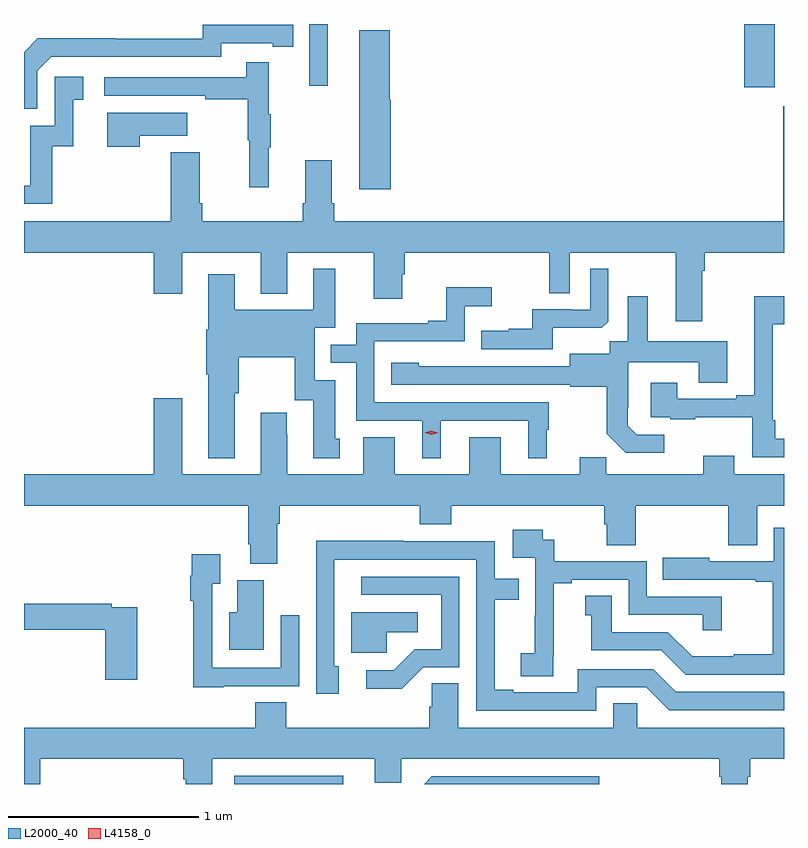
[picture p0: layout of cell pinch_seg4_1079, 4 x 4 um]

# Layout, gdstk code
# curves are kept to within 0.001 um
import gdstk
lib = gdstk.Library(unit=1e-6, precision=1e-09)
def R(c, l, rs):  # rectangles x0, y0, x1, y1
    for r in rs: c.add(gdstk.rectangle(r[:2], r[2:], *l))
def P(c, l, *ps):  # polygons
    for p in ps: c.add(gdstk.Polygon(p, *l))
L2000_40 = (2000, 40)
L4158_0 = (4158, 0)

pinch_seg4_1079 = lib.new_cell('pinch_seg4_1079')
R(pinch_seg4_1079, L2000_40, [(543.411,803.347,543.985,803.391), (546.095,807.015,546.255,807.347), (543.807,807.021,543.904,807.347)])
P(pinch_seg4_1079, L2000_40, [(542.376,807.102),(542.448,807.174),(543.342,807.174),(543.342,807.246),(543.614,807.246),(543.614,807.226),(543.722,807.226),(543.722,807.342),(543.246,807.343),(543.246,807.27),(542.786,807.27),(542.786,807.272),(542.378,807.272),(542.305,807.199),(542.305,806.901),(542.376,806.901)],
  [(544.234,806.949),(544.229,806.949),(544.229,807.313),(544.07,807.313),(544.07,806.478),(544.234,806.478)],
  [(543.593,806.699),(543.604,806.699),(543.604,806.873),(543.593,806.873),(543.593,807.145),(543.475,807.145),(543.475,807.066),(542.727,807.066),(542.727,806.97),(543.259,806.97),(543.259,806.95),(543.483,806.95),(543.483,806.736),(543.49,806.736),(543.49,806.487),(543.593,806.487)],
  [(542.453,806.703),(542.564,806.703),(542.564,806.949),(542.617,806.949),(542.617,807.07),(542.466,807.07),(542.466,806.811),(542.337,806.811),(542.337,806.496),(542.305,806.496),(542.305,806.4),(542.453,806.4)],
  [(545.875,806.048),(545.888,806.048),(545.888,806.144),(546.305,806.144),(546.305,806.914),(546.302,806.914),(546.302,806.308),(543.938,806.308),(543.938,806.404),(543.925,806.404),(543.925,806.629),(543.785,806.629),(543.785,806.404),(543.773,806.404),(543.773,806.308),(543.242,806.308),(543.242,806.404),(543.229,806.404),(543.229,806.671),(543.077,806.671),(543.077,806.308),(542.305,806.308),(542.305,806.144),(542.987,806.144),(542.987,805.926),(543.139,805.926),(543.139,806.144),(543.551,806.144),(543.551,805.928),(543.691,805.928),(543.691,806.144),(544.145,806.144),(544.145,805.902),(544.297,805.902),(544.297,806.031),(544.31,806.031),(544.31,806.144),(545.07,806.144),(545.07,805.93),(545.178,805.93),(545.178,806.144),(545.735,806.144),(545.735,805.782),(545.875,805.782)],
  [(542.915,806.759),(543.163,806.759),(543.163,806.881),(542.744,806.881),(542.744,806.7),(542.915,806.7)],
  [(543.415,805.403),(543.435,805.403),(543.435,805.592),(543.731,805.592),(543.731,805.368),(543.827,805.368),(543.827,805.062),(543.967,805.062),(543.967,805.164),(543.943,805.164),(543.943,805.473),(543.834,805.473),(543.834,805.749),(543.943,805.749),(543.943,806.059),(543.827,806.059),(543.827,805.843),(543.415,805.843),(543.415,806.029),(543.275,806.029),(543.275,805.739),(543.263,805.739),(543.263,805.503),(543.275,805.503),(543.275,805.061),(543.415,805.061)],
  [(545.089,805.748),(545.347,805.748),(545.379,805.779),(545.379,806.059),(545.286,806.059),(545.286,805.842),(545.186,805.842),(545.186,805.845),(544.979,805.845),(544.979,805.744),(544.855,805.744),(544.855,805.732),(544.711,805.732),(544.711,805.635),(545.089,805.635)],
  [(544.498,805.26),(544.958,805.26),(544.958,805.061),(545.056,805.061),(545.056,805.212),(545.068,805.212),(545.068,805.356),(544.149,805.356),(544.149,805.677),(544.626,805.677),(544.626,805.862),(544.768,805.862),(544.768,805.961),(544.528,805.961),(544.528,805.786),(544.433,805.786),(544.433,805.773),(544.053,805.773),(544.053,805.659),(543.919,805.659),(543.919,805.563),(544.053,805.563),(544.053,805.26),(544.4,805.26),(544.4,805.061),(544.498,805.061)],
  [(545.674,805.185),(545.529,805.185),(545.482,805.232),(545.482,805.327),(545.484,805.327),(545.484,805.568),(545.855,805.568),(545.855,805.459),(546.007,805.459),(546.007,805.678),(545.587,805.678),(545.587,805.915),(545.483,805.915),(545.483,805.676),(545.388,805.676),(545.388,805.612),(545.177,805.612),(545.177,805.545),(544.383,805.546),(544.383,805.564),(544.239,805.564),(544.239,805.449),(545.181,805.449),(545.181,805.437),(545.373,805.437),(545.373,805.191),(545.473,805.091),(545.674,805.091)],
  [(546.305,805.165),(546.259,805.165),(546.259,805.261),(546.246,805.261),(546.246,805.766),(546.305,805.766),(546.305,805.915),(546.149,805.915),(546.149,805.393),(546.053,805.393),(546.053,805.374),(545.743,805.374),(545.743,805.459),(545.603,805.459),(545.603,805.278),(545.707,805.278),(545.707,805.266),(545.839,805.266),(545.839,805.277),(546.138,805.277),(546.138,805.068),(546.305,805.068)],
  [(545.36,804.714),(545.372,804.714),(545.372,804.604),(545.525,804.604),(545.525,804.812),(546.011,804.812),(546.011,804.604),(546.163,804.604),(546.163,804.812),(546.305,804.812),(546.305,804.976),(546.043,804.976),(546.043,805.075),(545.879,805.075),(545.879,804.976),(545.369,804.976),(545.369,805.067),(545.231,805.067),(545.231,804.976),(544.813,804.976),(544.813,805.171),(544.649,805.171),(544.649,804.976),(544.255,804.976),(544.255,805.171),(544.091,805.171),(544.091,804.976),(543.691,804.976),(543.691,805.187),(543.688,805.187),(543.688,805.3),(543.551,805.3),(543.551,804.976),(543.139,804.976),(543.139,805.378),(542.987,805.378),(542.987,804.976),(542.305,804.976),(542.305,804.812),(543.485,804.812),(543.485,804.61),(543.497,804.61),(543.497,804.505),(543.637,804.505),(543.637,804.716),(543.65,804.716),(543.65,804.812),(544.388,804.812),(544.388,804.713),(544.553,804.713),(544.553,804.812),(545.36,804.812)],
  [(546.305,804.697),(546.252,804.697),(546.252,804.519),(545.911,804.519),(545.911,804.538),(545.668,804.538),(545.668,804.423),(546.155,804.423),(546.155,804.411),(546.247,804.411),(546.247,804.031),(546.041,804.031),(546.041,804.019),(545.822,804.019),(545.694,804.147),(545.398,804.147),(545.398,804.338),(545.258,804.338),(545.258,804.235),(545.291,804.235),(545.291,804.051),(545.658,804.051),(545.787,803.922),(546.305,803.922)],
  [(545.09,804.025),(545.092,804.025),(545.092,804.403),(545.188,804.403),(545.188,804.423),(545.487,804.423),(545.487,804.237),(545.877,804.237),(545.877,804.156),(545.978,804.156),(545.978,804.333),(545.583,804.333),(545.583,804.519),(545.096,804.519),(545.096,804.633),(545.034,804.633),(545.034,804.685),(544.878,804.685),(544.878,804.537),(544.995,804.537),(544.995,804.233),(544.994,804.233),(544.994,804.036),(544.92,804.036),(544.92,803.914),(545.09,803.914)],
  [(545.316,803.856),(545.58,803.856),(545.7,803.736),(546.305,803.736),(546.305,803.832),(545.736,803.832),(545.616,803.952),(545.22,803.952),(545.22,803.829),(544.879,803.829),(544.879,803.844),(544.783,803.844),(544.783,804.318),(544.91,804.318),(544.91,804.426),(544.782,804.426),(544.782,804.624),(544.304,804.624),(544.304,804.626),(543.842,804.626),(543.843,803.823),(543.961,803.823),(543.961,803.967),(543.939,803.967),(543.939,804.528),(544.686,804.528),(544.686,803.733),(545.316,803.733)],
  [(543.357,803.862),(543.753,803.862),(543.753,804.235),(543.657,804.235),(543.657,803.958),(543.297,803.958),(543.297,804.4),(543.337,804.4),(543.337,804.556),(543.189,804.556),(543.189,804.443),(543.181,804.443),(543.181,804.311),(543.196,804.311),(543.196,803.855),(543.357,803.855)],
  [(544.407,803.961),(544.596,803.961),(544.596,804.438),(544.08,804.438),(544.08,804.342),(544.5,804.342),(544.5,804.057),(544.362,804.057),(544.251,803.946),(544.107,803.946),(544.107,803.849),(544.294,803.849)],
  [(543.568,804.42),(543.428,804.42),(543.428,804.25),(543.386,804.25),(543.386,804.053),(543.568,804.053)],
  [(542.902,804.276),(542.768,804.276),(542.768,804.296),(542.305,804.296),(542.305,804.16),(542.732,804.16),(542.732,803.895),(542.902,803.895)],
  [(544.215,804.146),(544.378,804.146),(544.378,804.25),(544.028,804.25),(544.028,804.039),(544.215,804.039)],
  [(542.39,803.48),(543.143,803.48),(543.143,803.371),(543.156,803.371),(543.156,803.347),(543.295,803.347),(543.295,803.48),(544.151,803.48),(544.151,803.353),(544.29,803.353),(544.29,803.48),(545.963,803.48),(545.963,803.384),(545.975,803.384),(545.975,803.347),(546.115,803.347),(546.115,803.384),(546.128,803.384),(546.128,803.48),(546.305,803.48),(546.305,803.644),(545.532,803.644),(545.532,803.771),(545.405,803.771),(545.405,803.644),(544.591,803.644),(544.591,803.876),(544.452,803.876),(544.452,803.753),(544.439,803.753),(544.439,803.644),(543.686,803.644),(543.686,803.777),(543.521,803.777),(543.521,803.644),(542.305,803.644),(542.305,803.347),(542.39,803.347)],
  [(545.332,803.388),(544.452,803.388),(544.411,803.347),(545.332,803.347)])
P(pinch_seg4_1079, L4158_0, [(544.449,805.186),(544.413,805.196),(544.413,805.196),(544.413,805.196),(544.449,805.206),(544.485,805.196),(544.485,805.196),(544.485,805.196)])

lib.write_gds('pinch_seg4_1079.gds')
